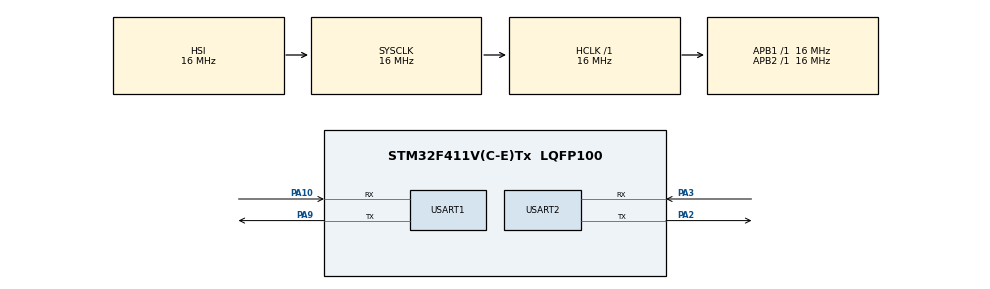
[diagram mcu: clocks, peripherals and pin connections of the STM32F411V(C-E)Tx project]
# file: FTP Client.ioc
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Mcu.Family=STM32F4
Mcu.Name=STM32F411V(C-E)Tx
Mcu.Package=LQFP100
NVIC.PriorityGroup=NVIC_PRIORITYGROUP_4
NVIC.USART2_IRQn=true\:0\:0\:false\:false\:true\:true\:true
PA10.Mode=Asynchronous
PA10.Signal=USART1_RX
PA13.Mode=Serial_Wire
PA13.Signal=SYS_JTMS-SWDIO
PA14.Mode=Serial_Wire
PA14.Signal=SYS_JTCK-SWCLK
PA2.Mode=Asynchronous
PA2.Signal=USART2_TX
PA3.Mode=Asynchronous
PA3.Signal=USART2_RX
PA9.Mode=Asynchronous
PA9.Signal=USART1_TX
ProjectManager.HeapSize=0x200
ProjectManager.StackSize=0x400
ProjectManager.TargetToolchain=STM32CubeIDE
RCC.AHBFreq_Value=16000000
RCC.APB1Freq_Value=16000000
RCC.APB2Freq_Value=16000000
RCC.CortexFreq_Value=16000000
RCC.HSE_VALUE=25000000
RCC.HSI_VALUE=16000000
RCC.LSE_VALUE=32768
RCC.SYSCLKFreq_VALUE=16000000
RCC.VCOOutputFreq_Value=192000000
USART1.VirtualMode=VM_ASYNC
USART2.VirtualMode=VM_ASYNC
board=custom

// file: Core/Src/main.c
/* USER CODE BEGIN Header */
/**
  ******************************************************************************
  * @file           : main.c
  * @brief          : Main program body
  ******************************************************************************
  * @attention
  *
  * <h2><center>&copy; Copyright (c) 2021 STMicroelectronics.
  * All rights reserved.</center></h2>
  *
  * This software component is licensed by ST under BSD 3-Clause license,
  * the "License"; You may not use this file except in compliance with the
  * License. You may obtain a copy of the License at:
  *                        opensource.org/licenses/BSD-3-Clause
  *
  ******************************************************************************
  */
/* USER CODE END Header */
#include "main.h"

/* USER CODE BEGIN Includes */
#include "FTPClient_STM32.h"
/* USER CODE END Includes */

/* USER CODE BEGIN PD */
#define FTPSERVER_USER	""
#define FTPSERVER_PASS	""
#define FTPSERVER_PATH	""

/* USER CODE END PD */

UART_HandleTypeDef huart1;
UART_HandleTypeDef huart2;

/* USER CODE BEGIN PV */
uint8_t Sim_RSSI = 0;
extern uint8_t Sim_Rxbyte[1];
extern uint8_t FTP_DataToGet[FTP_MAX_DOWNLOADLEN+1];
/* USER CODE END PV */

void SystemClock_Config(void);
static void MX_GPIO_Init(void);
static void MX_USART1_UART_Init(void);
static void MX_USART2_UART_Init(void);

int main(void)
{

  /* MCU Configuration--------------------------------------------------------*/

  /* Reset of all peripherals, Initializes the Flash interface and the Systick. */
  HAL_Init();

  /* Configure the system clock */
  SystemClock_Config();

  /* Initialize all configured peripherals */
  MX_GPIO_Init();
  MX_USART1_UART_Init();
  MX_USART2_UART_Init();
  /* USER CODE BEGIN 2 */
  HAL_UART_Receive_IT(&SIM_UART, Sim_Rxbyte, 1);
  if(Sim_checkOK() == RET_OK)
  {
	  Sim_RSSI = Sim_getSignalQuality();
	  if(Sim_RSSI != 99) //99 <=> error
	  {
		  if(Sim_configInternet(APN, APN_USER, APN_PASS) == RET_OK)
		  {
			  if(Sim_connectInternet() == RET_OK)
			  {
				  if(FTP_configParams() == RET_OK)
				  {
					  if(FTP_setUserAndPass(FTPSERVER_USER, FTPSERVER_PASS) == RET_OK)
					  {
						  if(FTP_setFileType(ascii) == RET_OK)
						  {
							  if(FTP_setTransmode(passive) == RET_OK)
							  {
								  if(FTP_setRspTimeout(90) == RET_OK)
								  {
									  if(FTP_loginServer(FTPSERVER_PATH, 21) == RET_OK)
									  {
										  if(FTP_listFileNames((char*)FTP_DataToGet) == RET_OK)
										  {
											  FTP_uploadFile("SimpleText.txt", 0, 20, 0, "Cong dong ky thuat ");
											  FTP_uploadFile("SimpleText.txt", 20, 5, 1, "TAPIT");
										  }
									  }
								  }
							  }
						  }
					  }
				  }
				  Sim_disconnectInternet();
			  }
		  }
	  }
  }

  /* USER CODE END 2 */

  /* Infinite loop */
  while (1)
  {

  }
}

void SystemClock_Config(void)
{
  RCC_OscInitTypeDef RCC_OscInitStruct = {0};
  RCC_ClkInitTypeDef RCC_ClkInitStruct = {0};

  /** Configure the main internal regulator output voltage
  */
  __HAL_RCC_PWR_CLK_ENABLE();
  __HAL_PWR_VOLTAGESCALING_CONFIG(PWR_REGULATOR_VOLTAGE_SCALE1);
  /** Initializes the RCC Oscillators according to the specified parameters
  * in the RCC_OscInitTypeDef structure.
  */
  RCC_OscInitStruct.OscillatorType = RCC_OSCILLATORTYPE_HSI;
  RCC_OscInitStruct.HSIState = RCC_HSI_ON;
  RCC_OscInitStruct.HSICalibrationValue = RCC_HSICALIBRATION_DEFAULT;
  RCC_OscInitStruct.PLL.PLLState = RCC_PLL_NONE;
  if (HAL_RCC_OscConfig(&RCC_OscInitStruct) != HAL_OK)
  {
    Error_Handler();
  }
  /** Initializes the CPU, AHB and APB buses clocks
  */
  RCC_ClkInitStruct.ClockType = RCC_CLOCKTYPE_HCLK|RCC_CLOCKTYPE_SYSCLK
                              |RCC_CLOCKTYPE_PCLK1|RCC_CLOCKTYPE_PCLK2;
  RCC_ClkInitStruct.SYSCLKSource = RCC_SYSCLKSOURCE_HSI;
  RCC_ClkInitStruct.AHBCLKDivider = RCC_SYSCLK_DIV1;
  RCC_ClkInitStruct.APB1CLKDivider = RCC_HCLK_DIV1;
  RCC_ClkInitStruct.APB2CLKDivider = RCC_HCLK_DIV1;

  if (HAL_RCC_ClockConfig(&RCC_ClkInitStruct, FLASH_LATENCY_0) != HAL_OK)
  {
    Error_Handler();
  }
}

static void MX_USART1_UART_Init(void)
{

  huart1.Instance = USART1;
  huart1.Init.BaudRate = 115200;
  huart1.Init.WordLength = UART_WORDLENGTH_8B;
  huart1.Init.StopBits = UART_STOPBITS_1;
  huart1.Init.Parity = UART_PARITY_NONE;
  huart1.Init.Mode = UART_MODE_TX_RX;
  huart1.Init.HwFlowCtl = UART_HWCONTROL_NONE;
  huart1.Init.OverSampling = UART_OVERSAMPLING_16;
  if (HAL_UART_Init(&huart1) != HAL_OK)
  {
    Error_Handler();
  }

}

static void MX_USART2_UART_Init(void)
{

  huart2.Instance = USART2;
  huart2.Init.BaudRate = 115200;
  huart2.Init.WordLength = UART_WORDLENGTH_8B;
  huart2.Init.StopBits = UART_STOPBITS_1;
  huart2.Init.Parity = UART_PARITY_NONE;
  huart2.Init.Mode = UART_MODE_TX_RX;
  huart2.Init.HwFlowCtl = UART_HWCONTROL_NONE;
  huart2.Init.OverSampling = UART_OVERSAMPLING_16;
  if (HAL_UART_Init(&huart2) != HAL_OK)
  {
    Error_Handler();
  }

}

static void MX_GPIO_Init(void)
{

  /* GPIO Ports Clock Enable */
  __HAL_RCC_GPIOA_CLK_ENABLE();

}

void Error_Handler(void)
{
  __disable_irq();
  while (1)
  {
  }
}

/************************ (C) COPYRIGHT STMicroelectronics *****END OF FILE****/
